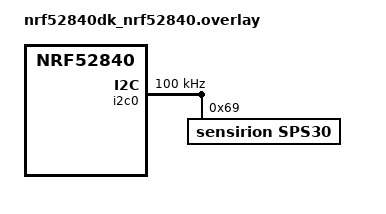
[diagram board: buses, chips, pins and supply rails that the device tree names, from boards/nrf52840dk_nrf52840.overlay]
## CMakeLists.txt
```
# SPDX-License-Identifier: Apache-2.0

cmake_minimum_required(VERSION 3.20.0)

list(APPEND ZEPHYR_EXTRA_MODULES
  ${CMAKE_CURRENT_SOURCE_DIR}/drivers
)
find_package(Zephyr REQUIRED HINTS $ENV{ZEPHYR_BASE})
project(sps_30)

target_sources(app PRIVATE src/main.c)
zephyr_include_directories(drivers)
```

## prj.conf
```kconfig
CONFIG_I2C=y
CONFIG_SENSOR=y
CONFIG_SPS30=y
CONFIG_PWM=y
CONFIG_LOG=y
CONFIG_LOG_DEFAULT_LEVEL=3

# OPEN THREAD NETWORK CONFIGURATION #

# Enable OpenThread FTD features set
CONFIG_OPENTHREAD_NORDIC_LIBRARY_FTD=y
# L2 OpenThread enabling
CONFIG_NET_L2_OPENTHREAD=y
# Generic networking options
CONFIG_NETWORKING=y

# Network parameter (For Network Identity and Security)
CONFIG_OPENTHREAD_MANUAL_START=n
CONFIG_OPENTHREAD_NETWORK_NAME="WSN18"
CONFIG_OPENTHREAD_PANID=10018
CONFIG_OPENTHREAD_XPANID="fb:02:00:00:ab:cd:00:18"
CONFIG_OPENTHREAD_NETWORKKEY="00:11:22:33:44:55:66:77:88:99:aa:bb:cc:dd:ee:ff"

# Network shell (Shell Interface for debugging and managing Thread Network)
CONFIG_SHELL=y
CONFIG_OPENTHREAD_SHELL=y
CONFIG_SHELL_ARGC_MAX=26
CONFIG_SHELL_CMD_BUFF_SIZE=416
```

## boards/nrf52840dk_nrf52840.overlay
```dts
&i2c0 {
    status = "okay";
	clock-frequency = <I2C_BITRATE_STANDARD>;

    sps30@69 {
        status = "okay";
        compatible = "sensirion,sps30";
        reg = <0x69>;
        model = "sps30";
    };
};
```

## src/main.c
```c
#include <zephyr/kernel.h>
#include <zephyr/device.h>
#include <stdio.h>
#include <zephyr/sys/printk.h>
#include <zephyr/drivers/sensor.h>
#include "sensor/sps30/sps30.h"
#include <openthread/coap.h>
#include <zephyr/net/openthread.h> 
#include <openthread/thread.h>
#include <zephyr/logging/log.h>

#if !DT_HAS_COMPAT_STATUS_OKAY(sensirion_sps30)
#error "No sensirion,sps30 compatible node found in the device tree"
#endif

// THREAD NETWORK CONFIGURATION //
void coap_init(void)
{
	otInstance *p_instance = openthread_get_default_instance();
	otError error = otCoapStart(p_instance, OT_DEFAULT_COAP_PORT);
	if (error != OT_ERROR_NONE)
		printk("Failed to start Coap: %d\n", error);
	else
	{
		printk("Coap started successfully.\n");
	}
}
static void coap_send_data_response_cb(void *p_context, otMessage *p_message,
									   const otMessageInfo *p_message_info, otError result)
{
	if (result == OT_ERROR_NONE)
	{
		printk("Delivery confirmed.\n");
	}
	else
	{
		printk("Delivery not confirmed: %d\n", result);
	}
}
static void send_coap_message(const char *uri_path, const char *payload)
{
	otError error = OT_ERROR_NONE;
	otMessage *message;
	otMessageInfo message_info;
	otInstance *instance = openthread_get_default_instance();
	const otMeshLocalPrefix *mesh_prefix = otThreadGetMeshLocalPrefix(instance);
	uint8_t server_interface_id[8] = {0x00, 0x00, 0x00, 0x00, 0x00, 0x00, 0x00, 0x01};

	do
	{
		// Allocate a new CoAP message
		message = otCoapNewMessage(instance, NULL);
		if (message == NULL)
		{
			printk("Failed to allocate CoAP message\n");
			return;
		}

		// Initialize the CoAP message
		otCoapMessageInit(message, OT_COAP_TYPE_CONFIRMABLE, OT_COAP_CODE_PUT);

		// Append URI path
		error = otCoapMessageAppendUriPathOptions(message, uri_path);
		if (error != OT_ERROR_NONE)
		{
			printk("Failed to append URI path: %d\n", error);
			otMessageFree(message);
			return;
		}

		// Append content format option (JSON)
		error = otCoapMessageAppendContentFormatOption(message, OT_COAP_OPTION_CONTENT_FORMAT_JSON);
		if (error != OT_ERROR_NONE)
		{
			printk("Failed to append content format option: %d\n", error);
			otMessageFree(message);
			return;
		}

		// Set payload marker
		error = otCoapMessageSetPayloadMarker(message);
		if (error != OT_ERROR_NONE)
		{
			printk("Failed to set payload marker: %d\n", error);
			otMessageFree(message);
			return;
		}

		// Append payload
		error = otMessageAppend(message, payload, strlen(payload));
		if (error != OT_ERROR_NONE)
		{
			printk("Failed to append payload: %d\n", error);
			otMessageFree(message);
			return;
		}

		// Set up message info
		memset(&message_info, 0, sizeof(message_info));
		memcpy(&message_info.mPeerAddr.mFields.m8[0], mesh_prefix, 8);
		memcpy(&message_info.mPeerAddr.mFields.m8[8], server_interface_id, 8);
		message_info.mPeerPort = OT_DEFAULT_COAP_PORT;

		// Send the CoAP request
		error = otCoapSendRequest(instance, message, &message_info, coap_send_data_response_cb, NULL);
	} while (false);

	if (error != OT_ERROR_NONE)
	{
		printk("Failed to send CoAP request: %d\n", error);
		otMessageFree(message);
	}
	else
	{
		printk("CoAP message sent successfully.\n");
	}
}

// THREAD NETWORK CONFIGURATION ENDS //

const struct device *sps30 = DEVICE_DT_GET_ANY(sensirion_sps30);

bool is_sps30_data_valid(struct sensor_value pm_1p0, struct sensor_value pm_2p5, struct sensor_value pm_10p0) {
	return (pm_1p0.val1 > 0 && pm_1p0.val1 < 1000) &&
           (pm_2p5.val1 > 0 && pm_2p5.val1 < 1000) &&
           (pm_10p0.val1 > 0 && pm_10p0.val1 < 1000);
}

void send_sps30_data(struct sensor_value pm_1p0, struct sensor_value pm_2p5, struct sensor_value pm_10p0, bool *sps30_ok) {
	char payload[256]; // Buffer to hold the JSON payload

	// Construct the JSON payload
	snprintf(payload, sizeof(payload),
			 "{\"sensor\":\"sps30\",\"data\":{\"PM1.0\":%d.%02d,\"PM2.5\":%d.%02d,\"PM10.0\":%d.%02d, \"SPS30_OK\":%s}}\n",
			 pm_1p0.val1, pm_1p0.val2, pm_2p5.val1, pm_2p5.val2, pm_10p0.val1, pm_10p0.val2,
			 (*sps30_ok) ? "true" : "false");

	// Send the CoAP message
	send_coap_message("sensor_data", payload);
}

void send_error_message(const char *message, bool *sps30_ok)
{
	char payload[256]; // Buffer to hold the JSON payload

	// Construct the JSON payload
	snprintf(payload, sizeof(payload), "{\"error\":\"%s\",\"SPS30_OK\":%s}\n", message, (*sps30_ok) ? "true" : "false");

	// Send the CoAP message
	send_coap_message("sensor_data", payload);
}
int main(void)
{
    bool SPS30_OK = false;
    coap_init();

    if (!device_is_ready(sps30)) {
        printk("SPS30 device not ready\n");
        send_error_message("SPS30 not ready - Sensor not connected or Sensor's PINs mis-configured.", &SPS30_OK);
        return -1;
    }
    printk("SPS30 device is ready\n");
    SPS30_OK = true;

    struct sensor_value pm_1p0, pm_2p5, pm_10p0;
    struct sensor_value pm_1p0_sum = {0}, pm_2p5_sum = {0}, pm_10p0_sum = {0};
    int valid_readings = 0;

    while (true) {
        // Reset sums and counters for averaging
        pm_1p0_sum = (struct sensor_value){0};
        pm_2p5_sum = (struct sensor_value){0};
        pm_10p0_sum = (struct sensor_value){0};
        valid_readings = 0;

        // Collect 3 readings over 15 seconds
        for (int i = 0; i < 3; i++) {
            if (sensor_sample_fetch(sps30) < 0) {
                printk("Failed to fetch sample from SPS30 sensor\n");
                SPS30_OK = false;
            } else {
                SPS30_OK = true;
                sensor_channel_get(sps30, SENSOR_CHAN_PM_1_0, &pm_1p0);
                sensor_channel_get(sps30, SENSOR_CHAN_PM_2_5, &pm_2p5);
                sensor_channel_get(sps30, SENSOR_CHAN_PM_10, &pm_10p0);

                if (is_sps30_data_valid(pm_1p0, pm_2p5, pm_10p0)) {
                    pm_1p0_sum.val1 += pm_1p0.val1;
                    pm_1p0_sum.val2 += pm_1p0.val2;
                    pm_2p5_sum.val1 += pm_2p5.val1;
                    pm_2p5_sum.val2 += pm_2p5.val2;
                    pm_10p0_sum.val1 += pm_10p0.val1;
                    pm_10p0_sum.val2 += pm_10p0.val2;
                    valid_readings++;
                }
            }

            k_sleep(K_SECONDS(15)); // Wait 15 seconds before the next reading
        }

        // Calculate averages
        if (valid_readings > 0) {
            pm_1p0_sum.val1 /= valid_readings;
            pm_1p0_sum.val2 /= valid_readings;
            pm_2p5_sum.val1 /= valid_readings;
            pm_2p5_sum.val2 /= valid_readings;
            pm_10p0_sum.val1 /= valid_readings;
            pm_10p0_sum.val2 /= valid_readings;

            printk("Sending averaged SPS30 data...\n");
            send_sps30_data(pm_1p0_sum, pm_2p5_sum, pm_10p0_sum, &SPS30_OK);
        } else {
            printk("No valid data to send (Sensor Data out of bound).\n");
            send_error_message("SPS30 - No valid data to send (Sensor Data out of bound)", &SPS30_OK);
        }

        k_sleep(K_SECONDS(15)); // Sleep for the remaining time to complete 60 seconds
    }

    return 0;
}
```
